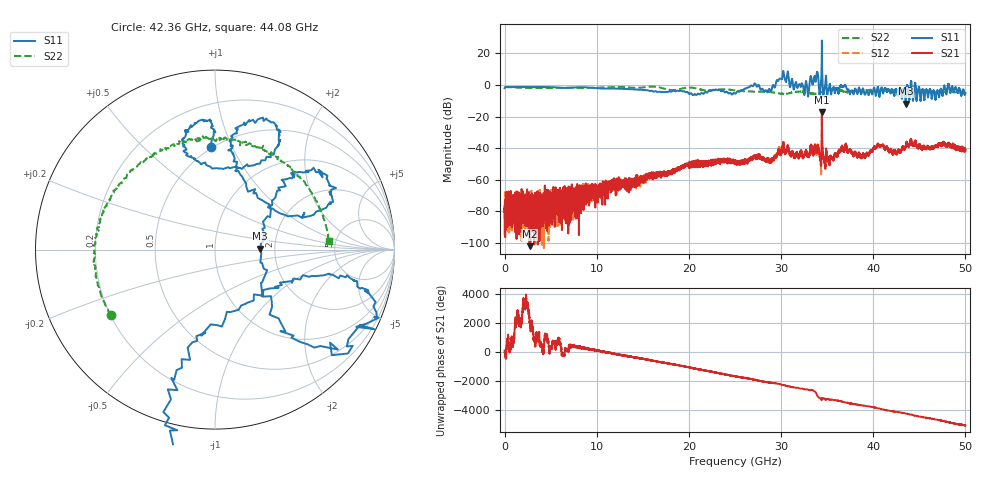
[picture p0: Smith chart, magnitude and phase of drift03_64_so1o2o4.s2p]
!Created with skrf (http://scikit-rf.org).
# Hz S RI R 50.0
!freq ReS11 ImS11 ReS21 ImS21 ReS12 ImS12 ReS22 ImS22
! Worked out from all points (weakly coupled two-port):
!   10000 points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, 5.3 MHz to 50 GHz, reference 50 ohm
!   highest |S21| = -17.37 dB at 34.43 GHz (marker M1); lowest = -101.9 dB at 2.715 GHz (marker M2)
!   lowest |S11| = -12.0 dB at 43.52 GHz (marker M3), VSWR 1.67, Z = 83.6 + j1.08 ohm
!   |S11| at or under -10 dB: 43.48406 GHz to 43.54765 GHz (63.59 MHz wide, 0.146 % of centre); 44.70347 GHz to 44.71076 GHz (7.295 MHz wide, 0.0163 % of centre); 45.1348 GHz to 45.14287 GHz (8.064 MHz wide, 0.0179 % of centre) (the widest 3 of 5)
!   |S22| runs from -5.8 to -1.1 dB; largest |S21 - S12| = 0.039
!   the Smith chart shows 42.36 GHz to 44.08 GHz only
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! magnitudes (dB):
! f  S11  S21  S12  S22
! 5.3 MHz  -2.1  -76.7  -80.5  -1.3
! 2.715 GHz  -1.4  -101.9  -77.1  -2.0
! 8.34 GHz  -1.5  -74.2  -67.9  -2.1
! 16.67 GHz  -4.4  -55.7  -57.0  -1.5
! 20.1 GHz  -5.6  -51.0  -48.9  -1.7
! 25.01 GHz  -5.5  -48.3  -49.1  -3.5
! 27.02 GHz  -0.3  -46.2  -44.9  -4.2
! 28.72 GHz  -2.5  -48.2  -48.1  -4.5
! 30.14 GHz  4.4  -40.4  -40.4  -5.7
! 32.74 GHz  2.1  -41.6  -42.0  -4.6
! 33.34 GHz  2.6  -39.9  -40.5  -5.7
! 33.82 GHz  4.0  -42.0  -42.0  -5.6
! 34.43 GHz  28.1  -17.4  -19.1  -4.6
! 35.3 GHz  0.5  -47.5  -47.1  -3.4
! 36.86 GHz  -0.5  -41.9  -41.6  -4.2
! 38.88 GHz  -2.3  -44.3  -43.7  -3.2
! 40.62 GHz  -5.4  -38.7  -38.5  -4.0
! 41.67 GHz  -2.9  -41.7  -42.3  -3.3
! 43.52 GHz  -12.0  -39.1  -38.8  -4.1
! 46.94 GHz  -3.7  -39.5  -38.4  -4.8
! 48.32 GHz  -4.5  -37.9  -38.7  -4.6
! 50 GHz  -5.2  -41.7  -40.3  -4.5
